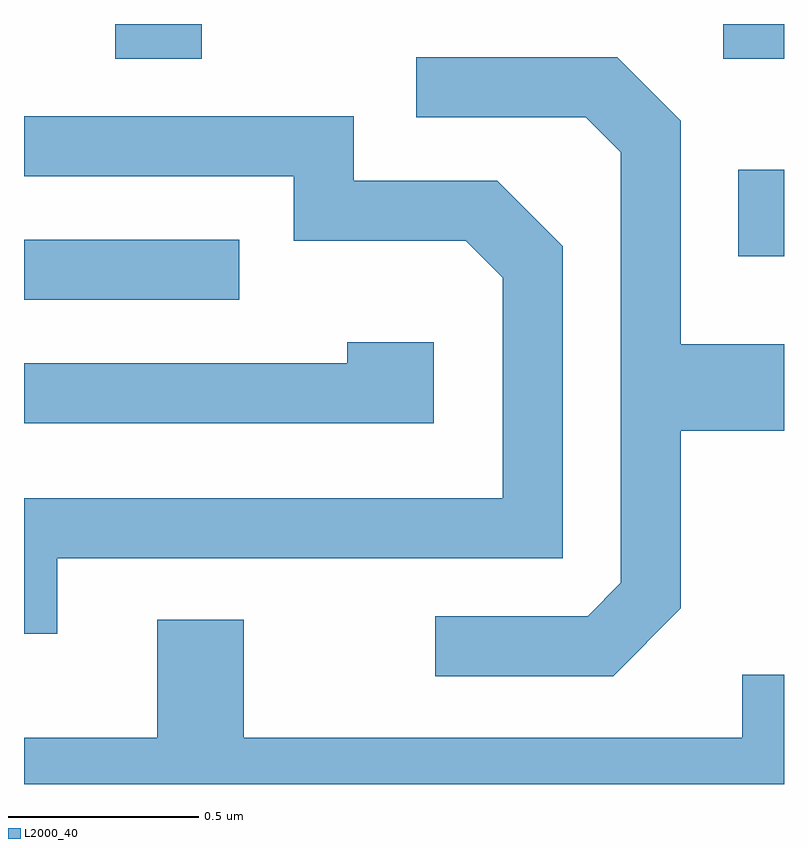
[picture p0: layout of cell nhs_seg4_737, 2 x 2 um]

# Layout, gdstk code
import gdstk
lib = gdstk.Library(unit=1e-6, precision=1e-09)
def R(c, l, rs):  # rectangles x0, y0, x1, y1
    for r in rs: c.add(gdstk.rectangle(r[:2], r[2:], *l))
def P(c, l, *ps):  # polygons
    for p in ps: c.add(gdstk.Polygon(p, *l))
L2000_40 = (2000, 40)

nhs_seg4_737 = lib.new_cell('nhs_seg4_737')
R(nhs_seg4_737, L2000_40, [(190.611,1307.256,191.178,1307.414), (192.491,1307.371,192.611,1307.599), (190.851,1307.891,191.079,1307.982), (192.451,1307.891,192.611,1307.982)])
P(nhs_seg4_737, L2000_40, [(192.339,1306.444),(192.339,1306.911),(192.611,1306.911),(192.611,1307.139),(192.339,1307.139),(192.339,1307.727),(192.172,1307.894),(191.643,1307.894),(191.643,1307.736),(192.089,1307.736),(192.181,1307.644),(192.181,1306.512),(192.094,1306.424),(191.693,1306.424),(191.693,1306.266),(192.162,1306.266)],
  [(190.699,1306.576),(192.029,1306.576),(192.029,1307.397),(191.857,1307.569),(191.479,1307.569),(191.479,1307.739),(190.611,1307.739),(190.611,1307.581),(191.321,1307.581),(191.321,1307.411),(191.774,1307.411),(191.871,1307.314),(191.871,1306.734),(190.611,1306.734),(190.611,1306.378),(190.699,1306.378)],
  [(191.689,1307.144),(191.461,1307.144),(191.461,1307.089),(190.611,1307.089),(190.611,1306.931),(191.689,1306.931)],
  [(192.611,1306.269),(192.501,1306.269),(192.501,1306.104),(191.189,1306.104),(191.189,1306.414),(190.961,1306.414),(190.961,1306.104),(190.611,1306.104),(190.611,1305.982),(192.611,1305.982)])

lib.write_gds('nhs_seg4_737.gds')
